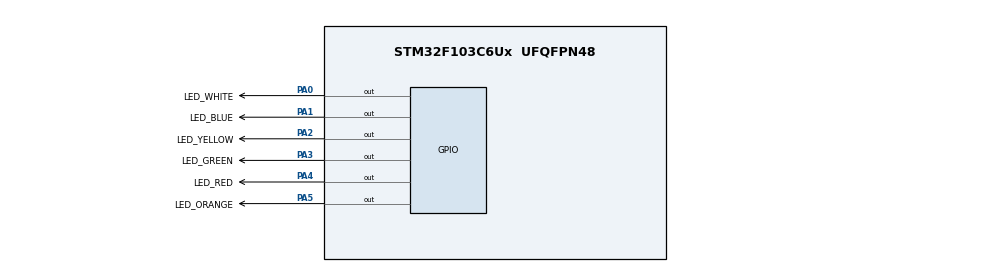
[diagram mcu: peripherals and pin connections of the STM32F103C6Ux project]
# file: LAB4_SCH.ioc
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Mcu.Family=STM32F1
Mcu.Name=STM32F103C6Ux
Mcu.Package=UFQFPN48
NVIC.PriorityGroup=NVIC_PRIORITYGROUP_4
NVIC.TIM2_IRQn=true\:0\:0\:false\:false\:true\:true\:true
PA0-WKUP.GPIO_Label=LED_WHITE
PA0-WKUP.Signal=GPIO_Output
PA1.GPIO_Label=LED_BLUE
PA1.Signal=GPIO_Output
PA2.GPIO_Label=LED_YELLOW
PA2.Signal=GPIO_Output
PA3.GPIO_Label=LED_GREEN
PA3.Signal=GPIO_Output
PA4.GPIO_Label=LED_RED
PA4.Signal=GPIO_Output
PA5.GPIO_Label=LED_ORANGE
PA5.Signal=GPIO_Output
ProjectManager.HeapSize=0x200
ProjectManager.StackSize=0x400
ProjectManager.TargetToolchain=STM32CubeIDE
RCC.APB1Freq_Value=8000000
RCC.APB2Freq_Value=8000000
TIM2.Period=9
TIM2.Prescaler=7999
VP_SYS_VS_ND.Mode=No_Debug
VP_TIM2_VS_ClockSourceINT.Mode=Internal
board=custom

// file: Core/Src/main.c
/* USER CODE BEGIN Header */
/**
  ******************************************************************************
  * @file           : main.c
  * @brief          : Main program body
  ******************************************************************************
  * @attention
  *
  * <h2><center>&copy; Copyright (c) 2023 STMicroelectronics.
  * All rights reserved.</center></h2>
  *
  * This software component is licensed by ST under BSD 3-Clause license,
  * the "License"; You may not use this file except in compliance with the
  * License. You may obtain a copy of the License at:
  *                        opensource.org/licenses/BSD-3-Clause
  *
  ******************************************************************************
  */
/* USER CODE END Header */
#include "main.h"

/* USER CODE BEGIN Includes */
#include "scheduler.h"
/* USER CODE END Includes */

TIM_HandleTypeDef htim2;

void SystemClock_Config(void);
static void MX_GPIO_Init(void);
static void MX_TIM2_Init(void);

/* USER CODE BEGIN 0 */

void blinky_white()
{
	HAL_GPIO_TogglePin(LED_WHITE_GPIO_Port, LED_WHITE_Pin);
}
void blinky_blue()
{
	HAL_GPIO_TogglePin(LED_BLUE_GPIO_Port, LED_BLUE_Pin);
}

void blinky_yellow()
{
	HAL_GPIO_TogglePin(LED_YELLOW_GPIO_Port, LED_YELLOW_Pin);
}

void blinky_green()
{
	HAL_GPIO_TogglePin(LED_GREEN_GPIO_Port, LED_GREEN_Pin);
}

void blinky_red()
{
	HAL_GPIO_TogglePin(LED_RED_GPIO_Port, LED_RED_Pin);
}

void one_shot_orange()
{
	HAL_GPIO_TogglePin(LED_ORANGE_GPIO_Port, LED_ORANGE_Pin);
}
/* USER CODE END 0 */

int main(void)
{

  /* MCU Configuration--------------------------------------------------------*/

  /* Reset of all peripherals, Initializes the Flash interface and the Systick. */
  HAL_Init();

  /* USER CODE BEGIN Init */
  SCH_Init();
  /* USER CODE END Init */

  /* Configure the system clock */
  SystemClock_Config();

  /* Initialize all configured peripherals */
  MX_GPIO_Init();
  MX_TIM2_Init();
  /* USER CODE BEGIN 2 */
  HAL_TIM_Base_Start_IT(&htim2);
  /* USER CODE END 2 */

  SCH_Add_Task(blinky_white, 1000, 500);
  SCH_Add_Task(blinky_blue, 1000, 1000);
  SCH_Add_Task(blinky_yellow, 1000, 1500);
  SCH_Add_Task(blinky_green, 1000, 2000);
  SCH_Add_Task(blinky_red, 1000, 2500);

  // one shot task
  SCH_Add_Task(one_shot_orange, 5000, 0);
  /* Infinite loop */
  while (1)
  {
	  SCH_Dispatch_Tasks();
  }
}

void SystemClock_Config(void)
{
  RCC_OscInitTypeDef RCC_OscInitStruct = {0};
  RCC_ClkInitTypeDef RCC_ClkInitStruct = {0};

  /** Initializes the RCC Oscillators according to the specified parameters
  * in the RCC_OscInitTypeDef structure.
  */
  RCC_OscInitStruct.OscillatorType = RCC_OSCILLATORTYPE_HSI;
  RCC_OscInitStruct.HSIState = RCC_HSI_ON;
  RCC_OscInitStruct.HSICalibrationValue = RCC_HSICALIBRATION_DEFAULT;
  RCC_OscInitStruct.PLL.PLLState = RCC_PLL_NONE;
  if (HAL_RCC_OscConfig(&RCC_OscInitStruct) != HAL_OK)
  {
    Error_Handler();
  }
  /** Initializes the CPU, AHB and APB buses clocks
  */
  RCC_ClkInitStruct.ClockType = RCC_CLOCKTYPE_HCLK|RCC_CLOCKTYPE_SYSCLK
                              |RCC_CLOCKTYPE_PCLK1|RCC_CLOCKTYPE_PCLK2;
  RCC_ClkInitStruct.SYSCLKSource = RCC_SYSCLKSOURCE_HSI;
  RCC_ClkInitStruct.AHBCLKDivider = RCC_SYSCLK_DIV1;
  RCC_ClkInitStruct.APB1CLKDivider = RCC_HCLK_DIV1;
  RCC_ClkInitStruct.APB2CLKDivider = RCC_HCLK_DIV1;

  if (HAL_RCC_ClockConfig(&RCC_ClkInitStruct, FLASH_LATENCY_0) != HAL_OK)
  {
    Error_Handler();
  }
}

static void MX_TIM2_Init(void)
{

  TIM_ClockConfigTypeDef sClockSourceConfig = {0};
  TIM_MasterConfigTypeDef sMasterConfig = {0};

  htim2.Instance = TIM2;
  htim2.Init.Prescaler = 7999;
  htim2.Init.CounterMode = TIM_COUNTERMODE_UP;
  htim2.Init.Period = 9;
  htim2.Init.ClockDivision = TIM_CLOCKDIVISION_DIV1;
  htim2.Init.AutoReloadPreload = TIM_AUTORELOAD_PRELOAD_DISABLE;
  if (HAL_TIM_Base_Init(&htim2) != HAL_OK)
  {
    Error_Handler();
  }
  sClockSourceConfig.ClockSource = TIM_CLOCKSOURCE_INTERNAL;
  if (HAL_TIM_ConfigClockSource(&htim2, &sClockSourceConfig) != HAL_OK)
  {
    Error_Handler();
  }
  sMasterConfig.MasterOutputTrigger = TIM_TRGO_RESET;
  sMasterConfig.MasterSlaveMode = TIM_MASTERSLAVEMODE_DISABLE;
  if (HAL_TIMEx_MasterConfigSynchronization(&htim2, &sMasterConfig) != HAL_OK)
  {
    Error_Handler();
  }
  /* USER CODE BEGIN TIM2_Init 2 */
  TICK = ((1+(float)htim2.Init.Prescaler)*(1+(float)htim2.Init.Period) / 8000000) * 1000;
  /* USER CODE END TIM2_Init 2 */

}

static void MX_GPIO_Init(void)
{
  GPIO_InitTypeDef GPIO_InitStruct = {0};

  /* GPIO Ports Clock Enable */
  __HAL_RCC_GPIOA_CLK_ENABLE();

  /*Configure GPIO pin Output Level */
  HAL_GPIO_WritePin(GPIOA, LED_WHITE_Pin|LED_BLUE_Pin|LED_YELLOW_Pin|LED_GREEN_Pin
                          |LED_RED_Pin|LED_ORANGE_Pin, GPIO_PIN_RESET);

  /*Configure GPIO pins : LED_WHITE_Pin LED_BLUE_Pin LED_YELLOW_Pin LED_GREEN_Pin
                           LED_RED_Pin LED_ORANGE_Pin */
  GPIO_InitStruct.Pin = LED_WHITE_Pin|LED_BLUE_Pin|LED_YELLOW_Pin|LED_GREEN_Pin
                          |LED_RED_Pin|LED_ORANGE_Pin;
  GPIO_InitStruct.Mode = GPIO_MODE_OUTPUT_PP;
  GPIO_InitStruct.Pull = GPIO_NOPULL;
  GPIO_InitStruct.Speed = GPIO_SPEED_FREQ_LOW;
  HAL_GPIO_Init(GPIOA, &GPIO_InitStruct);

}

/* USER CODE BEGIN 4 */
void HAL_TIM_PeriodElapsedCallback(TIM_HandleTypeDef *htim)
{
	SCH_Update();
}
/* USER CODE END 4 */

void Error_Handler(void)
{
  __disable_irq();
  while (1)
  {
  }
}

/************************ (C) COPYRIGHT STMicroelectronics *****END OF FILE****/
